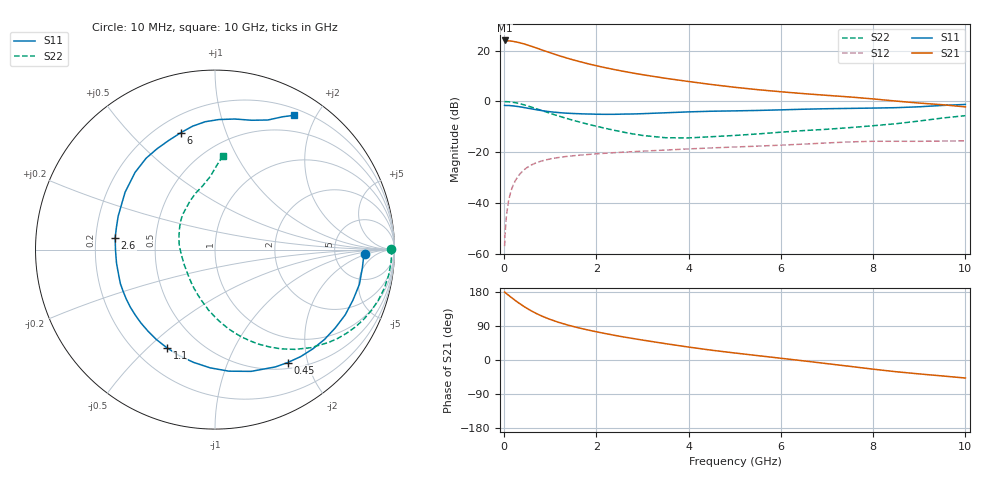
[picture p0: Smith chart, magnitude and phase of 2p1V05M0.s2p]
! (c) 2009  Infineon Technologies AG, Munich
! Infineon Technologies  Discrete & RF Semiconductors
! BFP420
! VCE =  1.0 V,  IC =  5.0 mA
! Common Emitter S-Parameters:  Nov 2009
# GHz  S  MA  R  50
!  f  S11  S21  S12  S22
! GHz  MAG  ANG  MAG  ANG  MAG  ANG  MAG  ANG
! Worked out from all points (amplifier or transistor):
!   46 points, 10 MHz to 10 GHz, reference 50 ohm
!   highest |S21| = 24.0 dB at 10 MHz (marker M1)
!   |S21| within 3 dB of that: start of sweep to 704.6 MHz
!   unconditionally stable (mu >= 1): 2.963 GHz to end of sweep
!   at 300 MHz: K = 0.10, MSG = 26.4 dB, |S12| = -29.6 dB
!   at 1.7 GHz: K = 0.61, MSG = 18.2 dB, |S12| = -21.1 dB
!   at 10 GHz: K = 1.11, MAG = 4.7 dB, |S12| = -15.6 dB
!   lowest NFmin = 0.66 dB at 900 MHz
!   S11 on the Smith chart (normalised r, x): 10 MHz: 11, -2; 450 MHz: 0.59, -1.68; 1.1 GHz: 0.33, -0.57; 2.6 GHz: 0.28, +0.06; 6 GHz: 0.29, +0.71; 10 GHz: 0.28, +1.71
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0.01  0.8336 -1.8  15.8 179.3  0.0014 76.9  0.9795 0.1
0.02  0.829 -2.7  15.46 178.4  0.0024 87.8  0.9845 -1.6
0.1  0.8275 -13.5  15.52 170.4  0.0116 83.1  0.9776 -8.6
0.2  0.8115 -26.6  15.14 161.0  0.0229 76.2  0.9531 -17.1
0.25  0.7998 -33.0  14.8 156.3  0.0281 72.9  0.9359 -21.1
0.35  0.7763 -45.5  14.15 147.8  0.0378 66.6  0.8929 -28.9
0.45  0.7482 -57.3  13.35 139.7  0.0461 60.9  0.8433 -36.0
0.6  0.7076 -73.5  12.06 128.9  0.0563 53.5  0.7647 -45.6
0.8  0.6593 -92.4  10.42 116.9  0.0662 45.9  0.6649 -56.3
0.9  0.6393 -100.9  9.699 111.7  0.07 42.9  0.6202 -60.9
1.1  0.609 -116.1  8.426 102.8  0.0762 37.9  0.5416 -69.3
1.4  0.5809 -135.3  6.939 91.5  0.0828 32.3  0.4477 -80.3
1.7  0.5658 -151.0  5.853 82.4  0.0879 28.4  0.3769 -89.8
2.2  0.5539 -172.3  4.579 69.6  0.0949 23.7  0.2928 -105.0
2.6  0.5603 173.1  3.877 60.6  0.0996 20.6  0.2452 -118.5
3.5  0.5942 147.5  2.841 43.1  0.1096 15.3  0.1916 -152.7
4.5  0.6376 127.0  2.14 25.8  0.1207 9.6  0.2009 172.8
5.5  0.6607 112.9  1.695 11.5  0.131 4.5  0.2276 150.8
6  0.6786 106.3  1.542 4.6  0.1368 2.0  0.2465 141.4
7  0.7145 94.4  1.31 -9.6  0.1513 -4.5  0.2812 125.0
8.5  0.7493 74.1  1.01 -31.0  0.1632 -18.3  0.3621 100.9
10  0.8674 59.6  0.776 -47.6  0.1667 -26.9  0.5215 85.3
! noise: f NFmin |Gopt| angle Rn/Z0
0.9  0.66  0.21  31  0.15
1.8  1.05  0.09  93  0.13
2.4  1.14  0.14  119  0.13
3  1.24  0.17  165  0.11
4  1.41  0.31  -145  0.12
5  1.85  0.38  -119  0.21
6  2.3  0.45  -101  0.36
